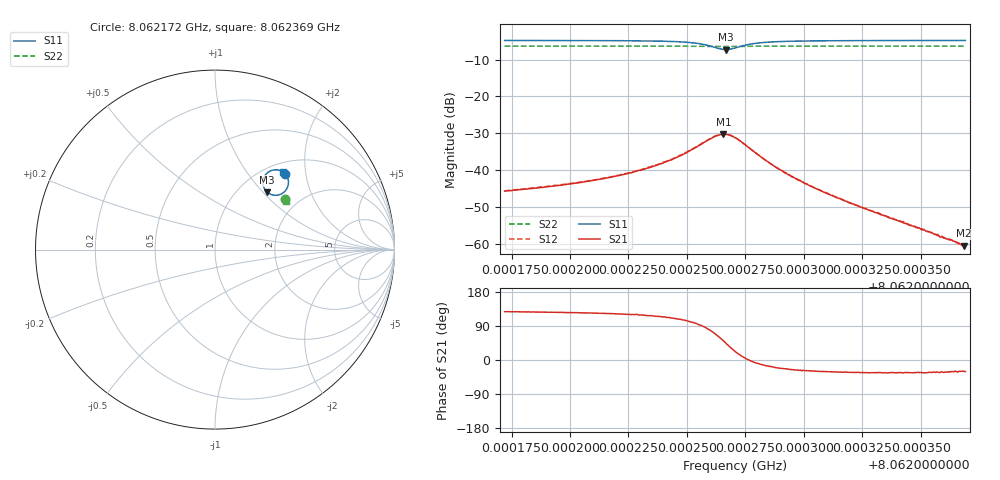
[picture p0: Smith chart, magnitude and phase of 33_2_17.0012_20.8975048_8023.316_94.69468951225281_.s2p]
#  HZ  S  RI  R  50.00
! Rohde & Schwarz Vector Network Analyzer
! Rohde-Schwarz,ZNB20-2Port,1311601062101988,3.16
! Created: UTC 3/20/2024, 10:53:34 PM
! freq[Hz]  re:S11  im:S11  re:S21  im:S21  re:S12  im:S12  re:S22  im:S22
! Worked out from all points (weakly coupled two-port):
!   401 points, 8.062172 GHz to 8.062369 GHz, reference 50 ohm
!   highest |S21| = -30.23 dB at 8.0622656 GHz (marker M1); lowest = -60.5 dB at 8.0623686 GHz (marker M2)
!   lowest |S11| = -7.3 dB at 8.0622666 GHz (marker M3), VSWR 2.53, Z = 67.2 + j52.9 ohm
!   |S11| at or under -10 dB: nowhere
!   |S22| runs from -6.5 to -6.3 dB; largest |S21 - S12| = 0.0025
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8.06217203e9  0.3904 0.4222  -0.00316 0.00412  -0.00295 0.00435  0.3915 0.281
8.06218878e9  0.3934 0.4188  -0.00347 0.00473  -0.00321 0.00497  0.3922 0.28
8.06220503e9  0.3969 0.4139  -0.00388 0.00562  -0.0036 0.00593  0.3927 0.279
8.06222325e9  0.4021 0.4046  -0.00453 0.00752  -0.00407 0.0079  0.3933 0.2775
8.06223114e9  0.4049 0.398  -0.00491 0.00899  -0.00441 0.0094  0.3936 0.277
8.06223803e9  0.4075 0.3891  -0.00501 0.0109  -0.00441 0.0113  0.3938 0.2763
8.0622469e9  0.4089 0.3696  -0.00465 0.0148  -0.00379 0.0155  0.3938 0.275
8.06225576e9  0.396 0.3326  -0.000653 0.0221  0.000786 0.0224  0.3929 0.2732
8.06226167e9  0.3527 0.3041  0.00922 0.0269  0.0114 0.0264  0.3909 0.2726
8.06226561e9  0.3027 0.312  0.0197 0.0237  0.0215 0.0222  0.3891 0.2735
8.0622666e9  0.2912 0.3202  0.0218 0.0216  0.0235 0.0199  0.3889 0.2739
8.06227054e9  0.2671 0.3674  0.0254 0.0107  0.0263 0.00897  0.3887 0.2759
8.06227399e9  0.2735 0.404  0.023 0.00329  0.0232 0.00173  0.3897 0.2772
8.06227793e9  0.2918 0.4278  0.0184 -0.00139  0.0185 -0.00239  0.3909 0.2778
8.06228876e9  0.3308 0.4444  0.00983 -0.00375  0.00977 -0.00445  0.3931 0.2773
8.06229517e9  0.3435 0.4446  0.00736 -0.00348  0.00715 -0.00387  0.3937 0.2769
8.06230354e9  0.3542 0.443  0.00517 -0.00287  0.00507 -0.00318  0.3943 0.2762
8.0623193e9  0.3656 0.4394  0.00305 -0.00193  0.00296 -0.00213  0.3953 0.2752
8.06233654e9  0.3724 0.4361  0.00188 -0.00125  0.00185 -0.00136  0.3959 0.2742
8.06235378e9  0.377 0.4334  0.00121 -0.000781  0.00118 -0.000845  0.3968 0.2732
8.06236856e9  0.3796 0.4316  0.00081 -0.000479  0.000786 -0.000516  0.3972 0.2723
8.06236905e9  0.3797 0.4317  0.000813 -0.000476  0.000758 -0.000536  0.3973 0.2724
